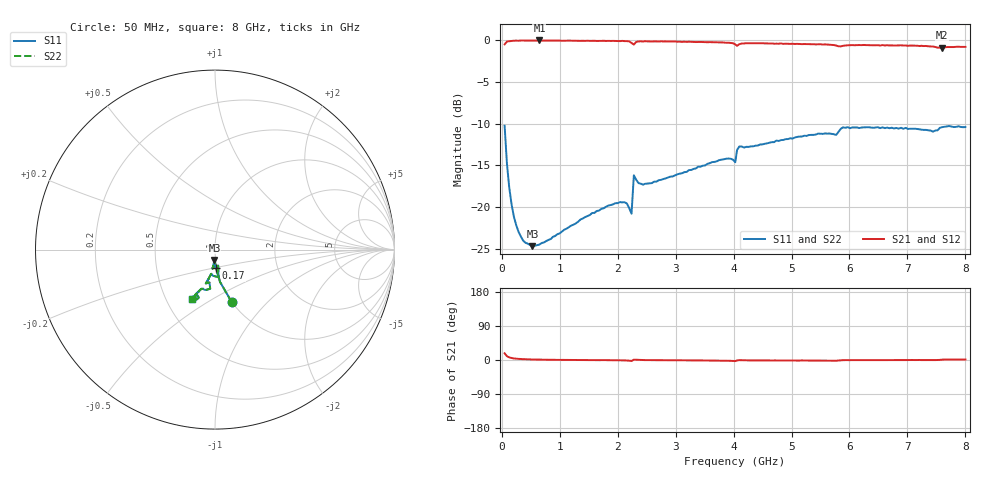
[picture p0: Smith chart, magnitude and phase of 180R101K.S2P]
!  American Technical Ceramics  Date:  3/13/98
!  One Norden Lane
!  Huntington Station,  NY.  11746-2102
!  Tel:  (516) 547-5700  Fax:  (516) 547-5748
!  Part Number  180r101k
!  Description: Porcelain, High Q, Low ESR
!  Application: Bypass, Coupling, Timing, Feedback
!  Tuning, Impedance Match, Blocking
# GHZ S DB R 50
! Freq  |S11|  S11 Ph  |S21|  S21 Ph  |S12|  S12 Ph  |S22|  S22 Ph
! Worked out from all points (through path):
!   201 points, 50 MHz to 8 GHz, reference 50 ohm
!   highest |S21| = -0.02 dB at 650 MHz (marker M1); lowest = -0.9 dB at 7.6 GHz (marker M2)
!   lowest |S11| = -24.7 dB at 530 MHz (marker M3), VSWR 1.12, Z = 49.3 - j5.77 ohm
!   |S11| at or under -10 dB: start of sweep to end of sweep
!   |S22| runs from -24.7 to -10.2 dB; largest |S21 - S12| = 0
!   S11 on the Smith chart (normalised r, x): 50 MHz: 1.00, -0.65; 170 MHz: 0.99, -0.21; 8 GHz: 0.67, -0.41
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0.05  -10.25 -72.3  -0.49 17.7  -0.49 17.7  -10.25 -72.3
0.09  -14.77 -81.1  -0.15 10.1  -0.15 10.1  -14.77 -81.1
0.17  -19.66 -86.2  -0.08 5.2  -0.08 5.2  -19.66 -86.2
0.33  -23.52 -90.3  -0.03 2.5  -0.03 2.5  -23.52 -90.3
0.53  -24.68 -93.2  -0.03 1.2  -0.03 1.2  -24.68 -93.2
0.65  -24.49 -93.4  -0.02 1.0  -0.02 1.0  -24.49 -93.4
1.4  -21.36 -95.3  -0.06 -0.0  -0.06 -0.0  -21.36 -95.3
2.04  -19.40 -97.6  -0.10 -0.8  -0.10 -0.8  -19.40 -97.6
2.16  -19.57 -97.3  -0.10 -1.3  -0.10 -1.3  -19.57 -97.3
2.24  -20.79 -78.7  -0.32 -2.6  -0.32 -2.6  -20.79 -78.7
2.28  -16.19 -82.8  -0.51 0.9  -0.51 0.9  -16.19 -82.8
2.44  -17.31 -98.5  -0.15 0.0  -0.15 0.0  -17.31 -98.5
2.71  -16.77 -100.0  -0.15 -0.7  -0.15 -0.7  -16.77 -100.0
3.75  -14.37 -104.6  -0.25 -1.5  -0.25 -1.5  -14.37 -104.6
4.03  -14.62 -99.5  -0.50 -2.9  -0.50 -2.9  -14.62 -99.5
4.06  -13.15 -97.0  -0.66 -1.2  -0.66 -1.2  -13.15 -97.0
4.1  -12.73 -103.1  -0.47 -0.4  -0.47 -0.4  -12.73 -103.1
5.38  -11.34 -113.4  -0.47 -1.4  -0.47 -1.4  -11.34 -113.4
5.89  -10.43 -111.5  -0.66 -0.4  -0.66 -0.4  -10.43 -111.5
6.69  -10.54 -115.8  -0.62 -0.2  -0.62 -0.2  -10.54 -115.8
7.6  -10.41 -112.5  -0.89 0.9  -0.89 0.9  -10.41 -112.5
8  -10.40 -115.2  -0.79 1.4  -0.79 1.4  -10.40 -115.2
